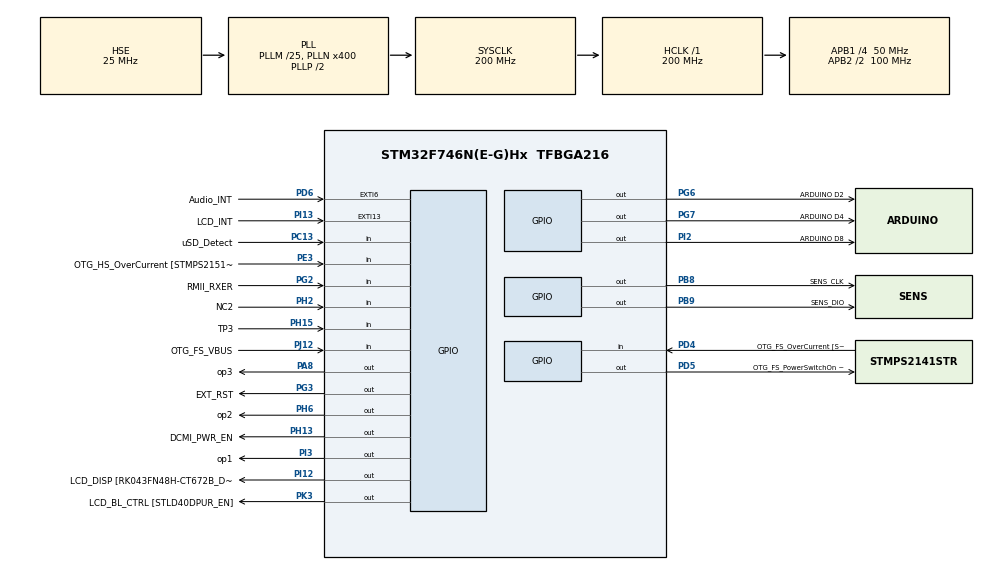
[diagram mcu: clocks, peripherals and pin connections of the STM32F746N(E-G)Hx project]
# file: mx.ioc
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Mcu.Family=STM32F7
Mcu.Name=STM32F746N(E-G)Hx
Mcu.Package=TFBGA216
NVIC.PriorityGroup=NVIC_PRIORITYGROUP_4
PA0/WKUP.GPIO_Label=ARDUINO A0
PA0/WKUP.GPIO_Mode=GPIO_MODE_ANALOG
PA0/WKUP.GPIO_PuPd=GPIO_NOPULL
PA0/WKUP.Signal=ADCx_IN0
PA1.GPIO_Label=RMII_REF_CLK [LAN8742A-CZ-TR_REFCLK0]
PA1.Signal=ETH_REF_CLK
PA10.GPIO_Label=OTG_FS_ID
PA10.Signal=USB_OTG_FS_ID
PA11.GPIO_Label=OTG_FS_N
PA11.Signal=USB_OTG_FS_DM
PA12.GPIO_Label=OTG_FS_P
PA12.Signal=USB_OTG_FS_DP
PA13.GPIO_Label=SWDIO
PA13.Signal=SYS_JTMS-SWDIO
PA14.GPIO_Label=SWCLK
PA14.Signal=SYS_JTCK-SWCLK
PA15.GPIO_Label=ARDUINO PWM/D9
PA15.GPIO_ModeDefaultPP=GPIO_MODE_AF_PP
PA15.GPIO_PuPd=GPIO_NOPULL
PA15.GPIO_Speed=GPIO_SPEED_FREQ_LOW
PA15.Signal=S_TIM2_CH1_ETR
PA2.GPIO_Label=RMII_MDIO [LAN8742A-CZ-TR_MDIO]
PA2.Signal=ETH_MDIO
PA3.GPIO_Label=ULPI_D0 [USB3320C-EZK_D0]
PA3.Signal=USB_OTG_HS_ULPI_D0
PA4.GPIO_Label=DCMI_HSYNC
PA4.Signal=DCMI_HSYNC
PA5.GPIO_Label=ULPI_CLK [USB3320C-EZK_CLKOUT]
PA5.Signal=USB_OTG_HS_ULPI_CK
PA6.Signal=DCMI_PIXCLK
PA7.GPIO_Label=RMII_CRS_DV [LAN8742A-CZ-TR_CRS_DV]
PA7.Signal=ETH_CRS_DV
PA8.GPIO_Label=op3
PA8.Signal=GPIO_Output
PA9.GPIO_Label=VCP_TX [STM32F103CBT6_PA3]
PA9.GPIO_Mode=GPIO_MODE_AF_PP
PA9.GPIO_PuPd=GPIO_NOPULL
PA9.GPIO_Speed=GPIO_SPEED_FREQ_LOW
PA9.Signal=USART1_TX
PB0.GPIO_Label=ULPI_D1 [USB3320C-EZK_D1]
PB0.Signal=USB_OTG_HS_ULPI_D1
PB1.GPIO_Label=ULPI_D2 [USB3320C-EZK_D2]
PB1.Signal=USB_OTG_HS_ULPI_D2
PB10.GPIO_Label=ULPI_D3 [USB3320C-EZK_D3]
PB10.Signal=USB_OTG_HS_ULPI_D3
PB11.GPIO_Label=ULPI_D4 [USB3320C-EZK_D4]
PB11.Signal=USB_OTG_HS_ULPI_D4
PB12.GPIO_Label=ULPI_D5 [USB3320C-EZK_D5]
PB12.Signal=USB_OTG_HS_ULPI_D5
PB13.GPIO_Label=ULPI_D6 [USB3320C-EZK_D6]
PB13.Signal=USB_OTG_HS_ULPI_D6
PB14.GPIO_Label=ARDUINO MISO/D12
PB14.GPIO_Mode=GPIO_MODE_AF_PP
PB14.GPIO_PuPd=GPIO_NOPULL
PB14.GPIO_Speed=GPIO_SPEED_FREQ_LOW
PB14.Signal=SPI2_MISO
PB15.GPIO_Label=ARDUINO MOSI/PWM/D11
PB15.GPIO_Mode=GPIO_MODE_AF_PP
PB15.GPIO_PuPd=GPIO_NOPULL
PB15.GPIO_Speed=GPIO_SPEED_FREQ_LOW
PB15.Signal=SPI2_MOSI
PB2.Signal=QUADSPI_CLK
PB3.GPIO_Label=SWO
PB3.Signal=SYS_JTDO-SWO
PB4.GPIO_Label=ARDUINO PWM/D3
PB4.GPIO_ModeDefaultPP=GPIO_MODE_AF_PP
PB4.GPIO_PuPd=GPIO_NOPULL
PB4.GPIO_Speed=GPIO_SPEED_FREQ_LOW
PB4.Signal=S_TIM3_CH1
PB5.GPIO_Label=ULPI_D7 [USB3320C-EZK_D7]
PB5.Signal=USB_OTG_HS_ULPI_D7
PB6.GPIO_Label=QSPI_NCS [N25Q128A13EF840E_S]
PB6.Signal=QUADSPI_BK1_NCS
PB7.GPIO_Label=VCP_RX [STM32F103CBT6_PA2]
PB7.GPIO_Mode=GPIO_MODE_AF_PP
PB7.GPIO_PuPd=GPIO_NOPULL
PB7.GPIO_Speed=GPIO_SPEED_FREQ_LOW
PB7.Signal=USART1_RX
PB8.GPIO_Label=SENS_CLK
PB8.GPIO_Speed=GPIO_SPEED_FREQ_LOW
PB8.PinState=GPIO_PIN_RESET
PB8.Signal=GPIO_Output
PB9.GPIO_Label=SENS_DIO
PB9.GPIO_ModeDefaultOutputPP=GPIO_MODE_OUTPUT_OD
PB9.GPIO_PuPd=GPIO_PULLUP
PB9.GPIO_Speed=GPIO_SPEED_FREQ_LOW
PB9.PinState=GPIO_PIN_SET
PB9.Signal=GPIO_Output
PC0.GPIO_Label=ULPI_STP [USB3320C-EZK_STP]
PC0.Signal=USB_OTG_HS_ULPI_STP
PC1.GPIO_Label=RMII_MDC [LAN8742A-CZ-TR_MDC]
PC1.Signal=ETH_MDC
PC10.GPIO_Label=SDMMC_D2
PC10.Signal=SDMMC1_D2
PC11.GPIO_Label=SDMMC_D3
PC11.Signal=SDMMC1_D3
PC12.GPIO_Label=SDMMC_CK
PC12.Signal=SDMMC1_CK
PC13.GPIO_Label=uSD_Detect
PC13.Signal=GPIO_Input
PC14/OSC32_IN.GPIO_Label=RCC_OSC32_IN
PC14/OSC32_IN.Mode=LSE-External-Oscillator
PC14/OSC32_IN.Signal=RCC_OSC32_IN
PC15/OSC32_OUT.GPIO_Label=RCC_OSC32_OUT
PC15/OSC32_OUT.Mode=LSE-External-Oscillator
PC15/OSC32_OUT.Signal=RCC_OSC32_OUT
PC2.GPIO_Label=ULPI_DIR [USB3320C-EZK_DIR]
PC2.Signal=USB_OTG_HS_ULPI_DIR
PC3.GPIO_Label=FMC_SDCKE0 [MT48LC4M32B2B5-6A_CKE]
PC3.Signal=FMC_SDCKE0
PC4.GPIO_Label=RMII_RXD0 [LAN8742A-CZ-TR_RXD0]
PC4.Signal=ETH_RXD0
PC5.GPIO_Label=RMII_RXD1 [LAN8742A-CZ-TR_RXD1]
PC5.Signal=ETH_RXD1
PC6.GPIO_Label=ARDUINO TX/D1
PC6.Signal=USART6_TX
PC7.GPIO_Label=ARDUINO RX/D0
PC7.Signal=USART6_RX
PC8.Signal=SDMMC1_D0
PC9.Signal=SDMMC1_D1
PD0.GPIO_Label=FMC_D2 [MT48LC4M32B2B5-6A_DQ2]
PD0.Signal=FMC_D2_DA2
PD1.GPIO_Label=FMC_D3 [MT48LC4M32B2B5-6A_DQ3]
PD1.Signal=FMC_D3_DA3
PD10.GPIO_Label=FMC_D15 [MT48LC4M32B2B5-6A_DQ15]
PD10.Signal=FMC_D15_DA15
PD11.GPIO_Label=QSPI_D0 [N25Q128A13EF840E_DQ0]
PD11.Signal=QUADSPI_BK1_IO0
PD12.GPIO_Label=QSPI_D1 [N25Q128A13EF840E_DQ1]
PD12.Signal=QUADSPI_BK1_IO1
PD13.GPIO_Label=QSPI_D3 [N25Q128A13EF840E_DQ3]
PD13.Signal=QUADSPI_BK1_IO3
PD14.GPIO_Label=FMC_D0 [MT48LC4M32B2B5-6A_DQ0]
PD14.Signal=FMC_D0_DA0
PD15.GPIO_Label=FMC_D1 [MT48LC4M32B2B5-6A_DQ1]
PD15.Signal=FMC_D1_DA1
PD2.GPIO_Label=SDMMC_D0
PD2.Signal=SDMMC1_CMD
PD3.GPIO_Label=DCMI_D5
PD3.Signal=DCMI_D5
PD4.GPIO_Label=OTG_FS_OverCurrent [STMPS2141STR_Fault]
PD4.Signal=GPIO_Input
PD5.GPIO_Label=OTG_FS_PowerSwitchOn [STMPS2141STR_EN]
PD5.PinState=GPIO_PIN_SET
PD5.Signal=GPIO_Output
PD6.GPIO_Label=Audio_INT
PD6.GPIO_ModeDefaultEXTI=GPIO_MODE_EVT_RISING
PD6.Signal=GPXTI6
PD7.GPIO_Label=SPDIF_RX0 [74LVC1G04SE_4]
PD7.Signal=SPDIFRX_IN0
PD8.GPIO_Label=FMC_D13 [MT48LC4M32B2B5-6A_DQ13]
PD8.Signal=FMC_D13_DA13
PD9.GPIO_Label=FMC_D14 [MT48LC4M32B2B5-6A_DQ14]
PD9.Signal=FMC_D14_DA14
PE0.GPIO_Label=FMC_NBL0 [MT48LC4M32B2B5-6A_DQM0]
PE0.Signal=FMC_NBL0
PE1.GPIO_Label=FMC_NBL1 [MT48LC4M32B2B5-6A_DQM1]
PE1.Signal=FMC_NBL1
PE10.GPIO_Label=FMC_D7 [MT48LC4M32B2B5-6A_DQ7]
PE10.Signal=FMC_D7_DA7
PE11.GPIO_Label=FMC_D8 [MT48LC4M32B2B5-6A_DQ8]
PE11.Signal=FMC_D8_DA8
PE12.GPIO_Label=FMC_D9 [MT48LC4M32B2B5-6A_DQ9]
PE12.Signal=FMC_D9_DA9
PE13.GPIO_Label=FMC_D10 [MT48LC4M32B2B5-6A_DQ10]
PE13.Signal=FMC_D10_DA10
PE14.GPIO_Label=FMC_D11 [MT48LC4M32B2B5-6A_DQ11]
PE14.Signal=FMC_D11_DA11
PE15.GPIO_Label=FMC_D12 [MT48LC4M32B2B5-6A_DQ12]
PE15.Signal=FMC_D12_DA12
PE2.GPIO_Label=QSPI_D2 [N25Q128A13EF840E_DQ2]
PE2.Signal=QUADSPI_BK1_IO2
PE3.GPIO_Label=OTG_HS_OverCurrent [STMPS2151STR_FAULT]
PE3.Signal=GPIO_Input
PE4.GPIO_Label=LCD_B0 [RK043FN48H-CT672B_B0]
PE4.Signal=LTDC_B0
PE5.GPIO_Label=DCMI_D6
PE5.Signal=DCMI_D6
PE6.GPIO_Label=DCMI_D7
PE6.Signal=DCMI_D7
PE7.GPIO_Label=FMC_D4 [MT48LC4M32B2B5-6A_DQ4]
PE7.Signal=FMC_D4_DA4
PE8.GPIO_Label=FMC_D5 [MT48LC4M32B2B5-6A_DQ5]
PE8.Signal=FMC_D5_DA5
PE9.GPIO_Label=FMC_D6 [MT48LC4M32B2B5-6A_DQ6]
PE9.Signal=FMC_D6_DA6
PF0.GPIO_Label=FMC_A0 [MT48LC4M32B2B5-6A_A0]
PF0.Signal=FMC_A0
PF1.GPIO_Label=FMC_A1 [MT48LC4M32B2B5-6A_A1]
PF1.Signal=FMC_A1
PF10.GPIO_Label=ARDUINO A1
PF10.GPIO_Mode=GPIO_MODE_ANALOG
PF10.GPIO_PuPd=GPIO_NOPULL
PF10.Signal=ADC3_IN8
PF11.GPIO_Label=FMC_SDNRAS [MT48LC4M32B2B5-6A_RAS]
PF11.Signal=FMC_SDNRAS
PF12.GPIO_Label=FMC_A6 [MT48LC4M32B2B5-6A_A6]
PF12.Signal=FMC_A6
PF13.GPIO_Label=FMC_A7 [MT48LC4M32B2B5-6A_A7]
PF13.Signal=FMC_A7
PF14.GPIO_Label=FMC_A8 [MT48LC4M32B2B5-6A_A8]
PF14.Signal=FMC_A8
PF15.GPIO_Label=FMC_A9 [MT48LC4M32B2B5-6A_A9]
PF15.Signal=FMC_A9
PF2.GPIO_Label=FMC_A2 [MT48LC4M32B2B5-6A_A2]
PF2.Signal=FMC_A2
PF3.GPIO_Label=FMC_A3 [MT48LC4M32B2B5-6A_A3]
PF3.Signal=FMC_A3
PF4.GPIO_Label=FMC_A4 [MT48LC4M32B2B5-6A_A4]
PF4.Signal=FMC_A4
PF5.GPIO_Label=FMC_A5 [MT48LC4M32B2B5-6A_A5]
PF5.Signal=FMC_A5
PF6.GPIO_Label=ARDUINO A5
PF6.GPIO_Mode=GPIO_MODE_ANALOG
PF6.GPIO_PuPd=GPIO_NOPULL
PF6.Signal=ADC3_IN4
PF7.GPIO_Label=ARDUINO A4
PF7.GPIO_Mode=GPIO_MODE_ANALOG
PF7.GPIO_PuPd=GPIO_NOPULL
PF7.Signal=ADC3_IN5
PF8.GPIO_Label=ARDUINO A3
PF8.GPIO_Mode=GPIO_MODE_ANALOG
PF8.GPIO_PuPd=GPIO_NOPULL
PF8.Signal=ADC3_IN6
PF9.GPIO_Label=ARDUINO A2
PF9.GPIO_Mode=GPIO_MODE_ANALOG
PF9.GPIO_PuPd=GPIO_NOPULL
PF9.Signal=ADC3_IN7
PG0.GPIO_Label=FMC_A10 [MT48LC4M32B2B5-6A_A10]
PG0.Signal=FMC_A10
PG1.GPIO_Label=FMC_A11 [MT48LC4M32B2B5-6A_A11]
PG1.Signal=FMC_A11
PG10.GPIO_Label=SAI2_SDB [WM8994ECS/R_ADCDAT1]
PG10.Signal=SAI2_SD_B
PG11.GPIO_Label=RMII_TX_EN [LAN8742A-CZ-TR_TXEN]
PG11.Signal=ETH_TX_EN
PG12.GPIO_Label=LCD_B4 [RK043FN48H-CT672B_B4]
PG12.Signal=LTDC_B4
PG13.GPIO_Label=RMII_TXD0 [LAN8742A-CZ-TR_TXD0]
PG13.Signal=ETH_TXD0
PG14.GPIO_Label=RMII_TXD1 [LAN8742A-CZ-TR_TXD1]
PG14.Signal=ETH_TXD1
PG15.GPIO_Label=FMC_SDNCAS [MT48LC4M32B2B5-6A_CAS]
PG15.Signal=FMC_SDNCAS
PG2.GPIO_Label=RMII_RXER
PG2.Signal=GPIO_Input
PG3.GPIO_Label=EXT_RST
PG3.Signal=GPIO_Output
PG4.GPIO_Label=FMC_BA0 [MT48LC4M32B2B5-6A_BA0]
PG4.Signal=FMC_A14_BA0
PG5.GPIO_Label=FMC_BA1 [MT48LC4M32B2B5-6A_BA1]
PG5.Signal=FMC_A15_BA1
PG6.GPIO_Label=ARDUINO D2
PG6.Signal=GPIO_Output
PG7.GPIO_Label=ARDUINO D4
PG7.Signal=GPIO_Output
PG8.GPIO_Label=FMC_SDCLK [MT48LC4M32B2B5-6A_CLK]
PG8.Signal=FMC_SDCLK
PG9.GPIO_Label=DCMI_VSYNC
PG9.Signal=DCMI_VSYNC
PH0/OSC_IN.GPIO_Label=OSC_25M [NZ2520SB-25.00M_OUT]
PH0/OSC_IN.Mode=HSE-External-Oscillator
PH0/OSC_IN.Signal=RCC_OSC_IN
PH1/OSC_OUT.Mode=HSE-External-Oscillator
PH1/OSC_OUT.Signal=RCC_OSC_OUT
PH10.GPIO_Label=DCMI_D1
PH10.Signal=DCMI_D1
PH11.GPIO_Label=DCMI_D2
PH11.Signal=DCMI_D2
PH12.GPIO_Label=DCMI_D3
PH12.Signal=DCMI_D3
PH13.GPIO_Label=DCMI_PWR_EN
PH13.Signal=GPIO_Output
PH14.GPIO_Label=DCMI_D4
PH14.Signal=DCMI_D4
PH15.GPIO_Label=TP3
PH15.Signal=GPIO_Input
PH2.GPIO_Label=NC2
PH2.Signal=GPIO_Input
PH3.GPIO_Label=FMC_SDNE0 [MT48LC4M32B2B5-6A_CS]
PH3.Signal=FMC_SDNE0
PH4.GPIO_Label=ULPI_NXT [USB3320C-EZK_NXT]
PH4.Signal=USB_OTG_HS_ULPI_NXT
PH5.GPIO_Label=FMC_SDNME [MT48LC4M32B2B5-6A_WE]
PH5.Signal=FMC_SDNWE
PH6.GPIO_Label=op2
PH6.Signal=GPIO_Output
PH7.GPIO_Label=LCD_SCL [RK043FN48H-CT672B_SCL]
PH7.Signal=I2C3_SCL
PH8.GPIO_Label=LCD_SDA [RK043FN48H-CT672B_SDA]
PH8.Signal=I2C3_SDA
PH9.GPIO_Label=DCMI_D0
PH9.Signal=DCMI_D0
PI0.GPIO_Label=ARDUINO PWM/CS/D10
PI0.GPIO_ModeDefaultPP=GPIO_MODE_AF_PP
PI0.GPIO_PuPd=GPIO_NOPULL
PI0.GPIO_Speed=GPIO_SPEED_FREQ_LOW
PI0.Signal=S_TIM5_CH4
PI1.GPIO_Label=ARDUINO SCK/D13
PI1.GPIO_Mode=GPIO_MODE_AF_PP
PI1.GPIO_PuPd=GPIO_NOPULL
PI1.GPIO_Speed=GPIO_SPEED_FREQ_LOW
PI1.Signal=SPI2_SCK
PI10.GPIO_Label=LCD_HSYNC [RK043FN48H-CT672B_HSYNC]
PI10.Signal=LTDC_HSYNC
PI12.GPIO_Label=LCD_DISP [RK043FN48H-CT672B_DISP] 
PI12.Signal=GPIO_Output
PI13.GPIO_Label=LCD_INT
PI13.GPIO_ModeDefaultEXTI=GPIO_MODE_EVT_RISING
PI13.Signal=GPXTI13
PI14.GPIO_Label=LCD_CLK [RK043FN48H-CT672B_CLK]
PI14.Signal=LTDC_CLK
PI15.GPIO_Label=LCD_R0 [RK043FN48H-CT672B_R0]
PI15.Signal=LTDC_R0
PI2.GPIO_Label=ARDUINO D8
PI2.Signal=GPIO_Output
PI3.GPIO_Label=op1
PI3.Signal=GPIO_Output
PI4.GPIO_Label=SAI2_MCLKA [WM8994ECS/R_MCLK1]
PI4.Signal=SAI2_MCLK_A
PI5.GPIO_Label=SAI2_SCKA [WM8994ECS/R_BCLK1]
PI5.Signal=SAI2_SCK_A
PI6.GPIO_Label=SAI2_SDA [WM8994ECS/R_DACDAT1]
PI6.Signal=SAI2_SD_A
PI7.GPIO_Label=SAI2_FSA [WM8994ECS/R_LRCLK1]
PI7.Signal=SAI2_FS_A
PI8.GPIO_Label=NC1 [TP2]
PI8.Signal=RTC_TS
PI9.GPIO_Label=LCD_VSYNC [RK043FN48H-CT672B_VSYNC]
PI9.Signal=LTDC_VSYNC
PJ0.GPIO_Label=LCD_R1 [RK043FN48H-CT672B_R1]
PJ0.Signal=LTDC_R1
PJ1.GPIO_Label=LCD_R2 [RK043FN48H-CT672B_R2]
PJ1.Signal=LTDC_R2
PJ10.GPIO_Label=LCD_G3 [RK043FN48H-CT672B_G3]
PJ10.Signal=LTDC_G3
PJ11.GPIO_Label=LCD_G4 [RK043FN48H-CT672B_G4]
PJ11.Signal=LTDC_G4
PJ12.GPIO_Label=OTG_FS_VBUS
PJ12.Signal=GPIO_Input
PJ13.GPIO_Label=LCD_B1 [RK043FN48H-CT672B_B1]
PJ13.Signal=LTDC_B1
PJ14.GPIO_Label=LCD_B2 [RK043FN48H-CT672B_B2]
PJ14.Signal=LTDC_B2
PJ15.GPIO_Label=LCD_B3 [RK043FN48H-CT672B_B3]
PJ15.Signal=LTDC_B3
PJ2.GPIO_Label=LCD_R3 [RK043FN48H-CT672B_R3]
PJ2.Signal=LTDC_R3
PJ3.GPIO_Label=LCD_R4 [RK043FN48H-CT672B_R4]
PJ3.Signal=LTDC_R4
PJ4.GPIO_Label=LCD_R5 [RK043FN48H-CT672B_R5]
PJ4.Signal=LTDC_R5
PJ5.GPIO_Label=LCD_R6 [RK043FN48H-CT672B_R6]
PJ5.Signal=LTDC_R6
PJ6.GPIO_Label=LCD_R7 [RK043FN48H-CT672B_R7]
PJ6.Signal=LTDC_R7
PJ7.GPIO_Label=LCD_G0 [RK043FN48H-CT672B_G0]
PJ7.Signal=LTDC_G0
PJ8.GPIO_Label=LCD_G1 [RK043FN48H-CT672B_G1]
PJ8.Signal=LTDC_G1
PJ9.GPIO_Label=LCD_G2 [RK043FN48H-CT672B_G2]
PJ9.Signal=LTDC_G2
PK0.GPIO_Label=LCD_G5 [RK043FN48H-CT672B_G5]
PK0.Signal=LTDC_G5
PK1.GPIO_Label=LCD_G6 [RK043FN48H-CT672B_G6]
PK1.Signal=LTDC_G6
PK2.GPIO_Label=LCD_G7 [RK043FN48H-CT672B_G7]
PK2.Signal=LTDC_G7
PK3.GPIO_Label=LCD_BL_CTRL [STLD40DPUR_EN]
PK3.Signal=GPIO_Output
PK4.GPIO_Label=LCD_B5 [RK043FN48H-CT672B_B5]
PK4.Signal=LTDC_B5
PK5.GPIO_Label=LCD_B6 [RK043FN48H-CT672B_B6]
PK5.Signal=LTDC_B6
PK6.GPIO_Label=LCD_B7 [RK043FN48H-CT672B_B7]
PK6.Signal=LTDC_B7
PK7.GPIO_Label=LCD_DE [RK043FN48H-CT672B_DE]
PK7.Signal=LTDC_DE
ProjectManager.HeapSize=0x200
ProjectManager.StackSize=0x400
ProjectManager.TargetToolchain=MDK-ARM V5
RCC.AHBFreq_Value=200000000
RCC.APB1CLKDivider=RCC_HCLK_DIV4
RCC.APB1Freq_Value=50000000
RCC.APB1TimFreq_Value=100000000
RCC.APB2CLKDivider=RCC_HCLK_DIV2
RCC.APB2Freq_Value=100000000
RCC.APB2TimFreq_Value=200000000
RCC.CortexFreq_Value=200000000
RCC.HCLKFreq_Value=200000000
RCC.HSE_VALUE=25000000
RCC.HSI_VALUE=16000000
RCC.PLLM=25
RCC.PLLN=400
RCC.PLLSourceVirtual=RCC_PLLSOURCE_HSE
RCC.RCC_RTC_Clock_Source_FROM_HSE=RCC_RTCCLKSOURCE_HSE_DIV25
RCC.RTCClockSelection=RCC_RTCCLKSOURCE_HSE_DIV25
RCC.SYSCLKFreq_VALUE=200000000
RCC.SYSCLKSource=RCC_SYSCLKSOURCE_PLLCLK
RCC.USBFreq_Value=200000000
RCC.VCOOutputFreq_Value=400000000
RCC.VDD_VALUE=3.3
RTC.AsynchPrediv=124
RTC.Date=31
RTC.Hours=21
RTC.Minutes=15
RTC.Month=RTC_MONTH_AUGUST
RTC.Seconds=12
RTC.SynchPrediv=7999
RTC.WeekDay=RTC_WEEKDAY_THURSDAY
RTC.Year=17
SH.ADCx_IN0.0=ADC3_IN0
SH.FMC_A0.0=FMC_A0
SH.FMC_A1.0=FMC_A1
SH.FMC_A10.0=FMC_A10
SH.FMC_A11.0=FMC_A11
SH.FMC_A14_BA0.0=FMC_BA0
SH.FMC_A15_BA1.0=FMC_BA1
SH.FMC_A2.0=FMC_A2
SH.FMC_A3.0=FMC_A3
SH.FMC_A4.0=FMC_A4
SH.FMC_A5.0=FMC_A5
SH.FMC_A6.0=FMC_A6
SH.FMC_A7.0=FMC_A7
SH.FMC_A8.0=FMC_A8
SH.FMC_A9.0=FMC_A9
SH.FMC_D0_DA0.0=FMC_D0
SH.FMC_D10_DA10.0=FMC_D10
SH.FMC_D11_DA11.0=FMC_D11
SH.FMC_D12_DA12.0=FMC_D12
SH.FMC_D13_DA13.0=FMC_D13
SH.FMC_D14_DA14.0=FMC_D14
SH.FMC_D15_DA15.0=FMC_D15
SH.FMC_D1_DA1.0=FMC_D1
SH.FMC_D2_DA2.0=FMC_D2
SH.FMC_D3_DA3.0=FMC_D3
SH.FMC_D4_DA4.0=FMC_D4
SH.FMC_D5_DA5.0=FMC_D5
SH.FMC_D6_DA6.0=FMC_D6
SH.FMC_D7_DA7.0=FMC_D7
SH.FMC_D8_DA8.0=FMC_D8
SH.FMC_D9_DA9.0=FMC_D9
SH.FMC_NBL0.0=FMC_NBL0
SH.FMC_NBL1.0=FMC_NBL1
SH.FMC_SDCLK.0=FMC_SDCLK
SH.FMC_SDNCAS.0=FMC_SDNCAS
SH.FMC_SDNRAS.0=FMC_SDNRAS
SH.FMC_SDNWE.0=FMC_SDNWE
SH.S_TIM2_CH1_ETR.0=TIM2_CH1
SH.S_TIM3_CH1.0=TIM3_CH1
SH.S_TIM5_CH4.0=TIM5_CH4
VP_RTC_VS_RTC_Activate.Mode=RTC_Enabled
VP_RTC_VS_RTC_Calendar.Mode=RTC_Calendar
board=STM32F746G-DISCO

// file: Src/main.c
/**
  ******************************************************************************
  * File Name          : main.c
  * Description        : Main program body
  ******************************************************************************
  *
  * COPYRIGHT(c) 2017 STMicroelectronics
  *
  * Redistribution and use in source and binary forms, with or without modification,
  * are permitted provided that the following conditions are met:
  *   1. Redistributions of source code must retain the above copyright notice,
  *      this list of conditions and the following disclaimer.
  *   2. Redistributions in binary form must reproduce the above copyright notice,
  *      this list of conditions and the following disclaimer in the documentation
  *      and/or other materials provided with the distribution.
  *   3. Neither the name of STMicroelectronics nor the names of its contributors
  *      may be used to endorse or promote products derived from this software
  *      without specific prior written permission.
  *
  * THIS SOFTWARE IS PROVIDED BY THE COPYRIGHT HOLDERS AND CONTRIBUTORS "AS IS"
  * AND ANY EXPRESS OR IMPLIED WARRANTIES, INCLUDING, BUT NOT LIMITED TO, THE
  * IMPLIED WARRANTIES OF MERCHANTABILITY AND FITNESS FOR A PARTICULAR PURPOSE ARE
  * DISCLAIMED. IN NO EVENT SHALL THE COPYRIGHT HOLDER OR CONTRIBUTORS BE LIABLE
  * FOR ANY DIRECT, INDIRECT, INCIDENTAL, SPECIAL, EXEMPLARY, OR CONSEQUENTIAL
  * DAMAGES (INCLUDING, BUT NOT LIMITED TO, PROCUREMENT OF SUBSTITUTE GOODS OR
  * SERVICES; LOSS OF USE, DATA, OR PROFITS; OR BUSINESS INTERRUPTION) HOWEVER
  * CAUSED AND ON ANY THEORY OF LIABILITY, WHETHER IN CONTRACT, STRICT LIABILITY,
  * OR TORT (INCLUDING NEGLIGENCE OR OTHERWISE) ARISING IN ANY WAY OUT OF THE USE
  * OF THIS SOFTWARE, EVEN IF ADVISED OF THE POSSIBILITY OF SUCH DAMAGE.
  *
  ******************************************************************************
  */
#include "main.h"
#include "stm32f7xx_hal.h"
#include "rtc.h"
#include "gpio.h"

/* USER CODE BEGIN PV */
/* Private variables ---------------------------------------------------------*/

/* USER CODE END PV */

void SystemClock_Config(void);
void Error_Handler(void);

/* USER CODE BEGIN PFP */
/* Private function prototypes -----------------------------------------------*/

/* USER CODE END PFP */

/* USER CODE BEGIN 0 */
void reset();
void startTransmit();
void writeData(uint8_t data);
void readData(uint8_t* pBuf, int size);
void writeCmd(uint8_t cmd);
void delay();
int getTemp(uint8_t MSB, uint8_t LSB);
int getHumi(uint8_t MSB, uint8_t LSB);

#define dioR HAL_GPIO_ReadPin(SENS_DIO_GPIO_Port, SENS_DIO_Pin)
#define dio1 HAL_GPIO_WritePin(SENS_DIO_GPIO_Port, SENS_DIO_Pin, 1);
#define dio0 HAL_GPIO_WritePin(SENS_DIO_GPIO_Port, SENS_DIO_Pin, 0);
#define clk1 HAL_GPIO_WritePin(SENS_CLK_GPIO_Port, SENS_CLK_Pin, 1);
#define clk0 HAL_GPIO_WritePin(SENS_CLK_GPIO_Port, SENS_CLK_Pin, 0);

void reset()
{
	for(int i=0; i<11; i++) {
		clk1
		delay(100);
		clk0
		delay(100);
	}
	delay(200);
}

void startTransmit()
{
	dio1
	delay(100);
	clk1
	delay(100);
	dio0
	delay(100);
	clk0
	delay(100);
	clk1
	delay(100);
	dio1
	delay(100);
	clk0
	delay(100);
}

void writeData(uint8_t data)
{
	uint8_t mask = (1 << 7);
	uint8_t d = 0x00;
	for(int i=7; i>=0; i--)
	{
		d = (data & mask) >> i;
		mask >>= 1;

		HAL_GPIO_WritePin(SENS_DIO_GPIO_Port, SENS_DIO_Pin, d);
		delay(100);
		clk1
		delay(100);
		clk0
		delay(100);
	}
	dio1
	delay(100);
	clk1
	delay(100);
	clk0;
	delay(100);
}

void readData(uint8_t* pBuf, int size)
{
	// Clean buffer
	for(int i=0; i<size; i++) {
		pBuf[i] = 0;
	}

	for(int i=0; i<size; i++) {
		delay(100);
		for(int j=7; j>=0; j--) {
			clk1
			delay(100);
			pBuf[i] |= (dioR << j);
			clk0
			delay(100);
		}
		if(i == size - 1)
		{
			dio1
		}
		else
		{
			dio0
		}
		delay(100);
		clk1
		delay(100);
		clk0
		delay(100);
		dio1
		delay(100);
	}
	dio1
}

void writeCmd(uint8_t cmd)
{
	startTransmit();
	writeData(cmd);
}

void delay(uint32_t delay)
{
	volatile int i = 0;
	while(i < delay) {
		i++;
	}
}

int getTemp(uint8_t MSB, uint8_t LSB)
{
	float v = (float)(((MSB & 0x3F) << 8) | LSB);
	float temp = 0.01f*v - 39.6f;
	return (int) nearbyint(temp);
}

int getHumi(uint8_t MSB, uint8_t LSB)
{
	float v = (float)(((MSB & 0x0F) << 8) | LSB);
	float humi = 0.0367f*v -1.5955E-6f*v*v - 2.0468f;
	return (int) nearbyint(humi);
}

/* USER CODE END 0 */

int main(void)
{

  /* MCU Configuration----------------------------------------------------------*/

  /* Reset of all peripherals, Initializes the Flash interface and the Systick. */
  HAL_Init();

  /* Configure the system clock */
  SystemClock_Config();

  /* Initialize all configured peripherals */
  MX_GPIO_Init();
  MX_RTC_Init();

  /* Infinite loop */
  /* USER CODE BEGIN WHILE */
	uint8_t buf[3];
	volatile int t = 0;
	volatile int h = 0;
	reset();
	while (1)
	{
  /* USER CODE END WHILE */

  /* USER CODE BEGIN 3 */
		writeCmd(0x03);
		HAL_Delay(1000);
		readData(buf, 2);
		t = getTemp(buf[0], buf[1]);
		writeCmd(0x05);
		HAL_Delay(1000);
		readData(buf, 2);
		h = getHumi(buf[0], buf[1]);
	}
  /* USER CODE END 3 */

}

/** System Clock Configuration
*/
void SystemClock_Config(void)
{

  RCC_OscInitTypeDef RCC_OscInitStruct;
  RCC_ClkInitTypeDef RCC_ClkInitStruct;
  RCC_PeriphCLKInitTypeDef PeriphClkInitStruct;

    /**Configure the main internal regulator output voltage
    */
  __HAL_RCC_PWR_CLK_ENABLE();

  __HAL_PWR_VOLTAGESCALING_CONFIG(PWR_REGULATOR_VOLTAGE_SCALE1);

    /**Initializes the CPU, AHB and APB busses clocks
    */
  RCC_OscInitStruct.OscillatorType = RCC_OSCILLATORTYPE_HSE;
  RCC_OscInitStruct.HSEState = RCC_HSE_ON;
  RCC_OscInitStruct.PLL.PLLState = RCC_PLL_ON;
  RCC_OscInitStruct.PLL.PLLSource = RCC_PLLSOURCE_HSE;
  RCC_OscInitStruct.PLL.PLLM = 25;
  RCC_OscInitStruct.PLL.PLLN = 400;
  RCC_OscInitStruct.PLL.PLLP = RCC_PLLP_DIV2;
  RCC_OscInitStruct.PLL.PLLQ = 2;
  if (HAL_RCC_OscConfig(&RCC_OscInitStruct) != HAL_OK)
  {
    Error_Handler();
  }

    /**Activate the Over-Drive mode
    */
  if (HAL_PWREx_EnableOverDrive() != HAL_OK)
  {
    Error_Handler();
  }

    /**Initializes the CPU, AHB and APB busses clocks
    */
  RCC_ClkInitStruct.ClockType = RCC_CLOCKTYPE_HCLK|RCC_CLOCKTYPE_SYSCLK
                              |RCC_CLOCKTYPE_PCLK1|RCC_CLOCKTYPE_PCLK2;
  RCC_ClkInitStruct.SYSCLKSource = RCC_SYSCLKSOURCE_PLLCLK;
  RCC_ClkInitStruct.AHBCLKDivider = RCC_SYSCLK_DIV1;
  RCC_ClkInitStruct.APB1CLKDivider = RCC_HCLK_DIV4;
  RCC_ClkInitStruct.APB2CLKDivider = RCC_HCLK_DIV2;

  if (HAL_RCC_ClockConfig(&RCC_ClkInitStruct, FLASH_LATENCY_6) != HAL_OK)
  {
    Error_Handler();
  }

  PeriphClkInitStruct.PeriphClockSelection = RCC_PERIPHCLK_RTC;
  PeriphClkInitStruct.RTCClockSelection = RCC_RTCCLKSOURCE_HSE_DIV25;
  if (HAL_RCCEx_PeriphCLKConfig(&PeriphClkInitStruct) != HAL_OK)
  {
    Error_Handler();
  }

    /**Configure the Systick interrupt time
    */
  HAL_SYSTICK_Config(HAL_RCC_GetHCLKFreq()/1000);

    /**Configure the Systick
    */
  HAL_SYSTICK_CLKSourceConfig(SYSTICK_CLKSOURCE_HCLK);

  /* SysTick_IRQn interrupt configuration */
  HAL_NVIC_SetPriority(SysTick_IRQn, 0, 0);
}

void Error_Handler(void)
{
  while(1)
  {
  }
}

/************************ (C) COPYRIGHT STMicroelectronics *****END OF FILE****/
